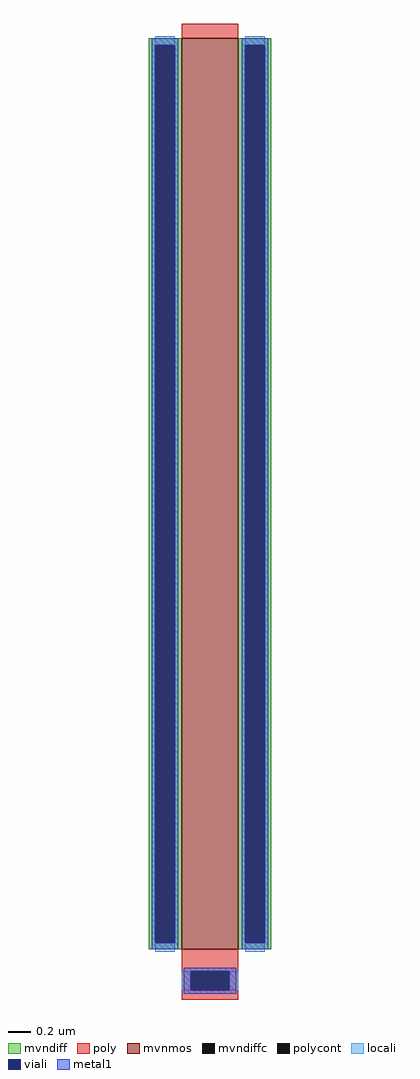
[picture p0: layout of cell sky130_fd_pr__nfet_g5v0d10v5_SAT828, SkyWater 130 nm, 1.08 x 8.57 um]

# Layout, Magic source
magic
tech sky130A
magscale 1 2
<< mvnmos >>
rect -50 -769 50 831
<< mvndiff >>
rect -108 819 -50 831
rect -108 -757 -96 819
rect -62 -757 -50 819
rect -108 -769 -50 -757
rect 50 819 108 831
rect 50 -757 62 819
rect 96 -757 108 819
rect 50 -769 108 -757
<< mvndiffc >>
rect -96 -757 -62 819
rect 62 -757 96 819
<< poly >>
rect -50 831 50 857
rect -50 -807 50 -769
rect -50 -841 -34 -807
rect 34 -841 50 -807
rect -50 -857 50 -841
<< polycont >>
rect -34 -841 34 -807
<< locali >>
rect -96 819 -62 835
rect -96 -773 -62 -757
rect 62 819 96 835
rect 62 -773 96 -757
rect -50 -841 -34 -807
rect 34 -841 50 -807
<< viali >>
rect -96 -757 -62 819
rect 62 -757 96 819
rect -34 -841 34 -807
<< metal1 >>
rect -102 819 -56 831
rect -102 -757 -96 819
rect -62 -757 -56 819
rect -102 -769 -56 -757
rect 56 819 102 831
rect 56 -757 62 819
rect 96 -757 102 819
rect 56 -769 102 -757
rect -46 -807 46 -801
rect -46 -841 -34 -807
rect 34 -841 46 -807
rect -46 -847 46 -841
<< properties >>
string gencell sky130_fd_pr__nfet_g5v0d10v5
string library sky130
string parameters w 8 l 0.5 m 1 nf 1 diffcov 100 polycov 100 guard 0 glc 1 grc 1 gtc 1 gbc 1 tbcov 100 rlcov 100 topc 0 botc 1 poverlap 0 doverlap 1 lmin 0.50 wmin 0.42 compatible {sky130_fd_pr__nfet_01v8 sky130_fd_pr__nfet_01v8_lvt  sky130_fd_bs_flash__special_sonosfet_star  sky130_fd_pr__nfet_g5v0d10v5 sky130_fd_pr__nfet_05v0_nvt  sky130_fd_pr__nfet_03v3_nvt} full_metal 1 viasrc 100 viadrn 100 viagate 100 viagb 0 viagr 0 viagl 0 viagt 0
<< end >>
